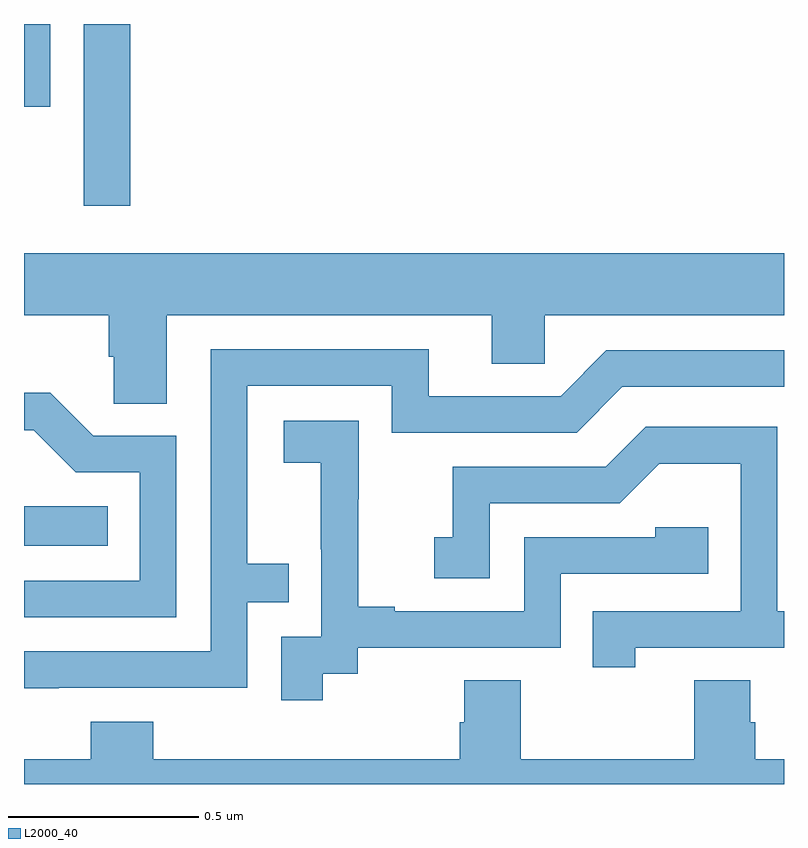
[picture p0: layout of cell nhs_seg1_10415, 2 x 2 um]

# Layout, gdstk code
import gdstk
lib = gdstk.Library(unit=1e-6, precision=1e-09)
def R(c, l, rs):  # rectangles x0, y0, x1, y1
    for r in rs: c.add(gdstk.rectangle(r[:2], r[2:], *l))
def P(c, l, *ps):  # polygons
    for p in ps: c.add(gdstk.Polygon(p, *l))
L2000_40 = (2000, 40)

nhs_seg1_10415 = lib.new_cell('nhs_seg1_10415')
R(nhs_seg1_10415, L2000_40, [(241,517.826,241.22,517.93), (241.157,518.721,241.279,519.199), (241,518.981,241.069,519.199)])
P(nhs_seg1_10415, L2000_40, [(241.375,518.432),(242.231,518.432),(242.231,518.305),(242.37,518.305),(242.37,518.432),(243,518.432),(243,518.596),(241,518.596),(241,518.432),(241.223,518.432),(241.223,518.323),(241.236,518.323),(241.236,518.2),(241.375,518.2)],
  [(241.091,517.452),(241.587,517.452),(241.587,517.677),(241.697,517.677),(241.697,517.778),(241.587,517.778),(241.587,518.247),(241.968,518.247),(241.968,518.124),(242.454,518.124),(242.574,518.244),(243,518.244),(243,518.34),(242.532,518.34),(242.412,518.22),(242.065,518.22),(242.065,518.343),(241.491,518.343),(241.491,517.548),(241,517.548),(241,517.451),(241.091,517.451)],
  [(241.401,518.115),(241.182,518.115),(241.069,518.228),(241,518.228),(241,518.13),(241.025,518.13),(241.136,518.019),(241.305,518.019),(241.305,517.734),(241,517.734),(241,517.638),(241.401,517.638)],
  [(241.786,517.489),(241.878,517.489),(241.878,517.557),(242.412,517.557),(242.412,517.752),(242.801,517.752),(242.801,517.875),(242.661,517.875),(242.661,517.848),(242.316,517.848),(242.316,517.653),(241.975,517.653),(241.975,517.666),(241.88,517.666),(241.88,517.949),(241.881,517.949),(241.881,518.155),(241.683,518.155),(241.683,518.045),(241.781,518.045),(241.781,517.817),(241.782,517.817),(241.782,517.587),(241.677,517.587),(241.677,517.419),(241.786,517.419)],
  [(242.608,517.557),(243,517.557),(243,517.653),(242.982,517.653),(242.982,518.139),(242.636,518.139),(242.531,518.034),(242.128,518.034),(242.128,517.849),(242.079,517.849),(242.079,517.74),(242.226,517.74),(242.226,517.938),(242.568,517.938),(242.672,518.042),(242.886,518.042),(242.886,517.653),(242.497,517.653),(242.497,517.506),(242.608,517.506)],
  [(243,517.264),(242.924,517.264),(242.924,517.362),(242.911,517.362),(242.911,517.472),(242.764,517.472),(242.764,517.264),(242.307,517.264),(242.307,517.472),(242.159,517.472),(242.159,517.362),(242.147,517.362),(242.147,517.264),(241.34,517.264),(241.34,517.363),(241.175,517.363),(241.175,517.264),(241,517.264),(241,517.199),(243,517.199)])

lib.write_gds('nhs_seg1_10415.gds')
